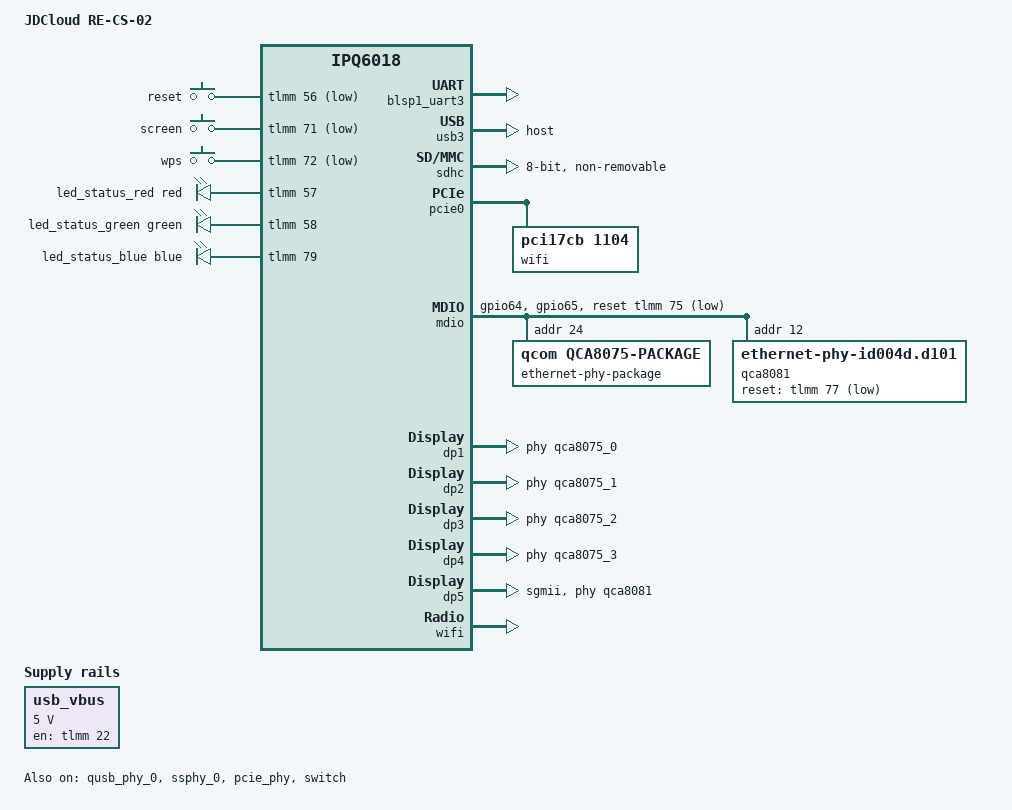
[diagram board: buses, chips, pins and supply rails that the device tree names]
// SPDX-License-Identifier: GPL-2.0-or-later OR MIT

/dts-v1/;

#include "ipq6018.dtsi"
#include "ipq6018-ess.dtsi"

#include <dt-bindings/gpio/gpio.h>
#include <dt-bindings/input/input.h>
#include <dt-bindings/leds/common.h>

/ {
	model = "JDCloud RE-CS-02";
	compatible = "jdcloud,re-cs-02", "qcom,ipq6018";

	aliases {
		led-boot = &led_status_red;
		led-failsafe = &led_status_red;
		led-running = &led_status_green;
		led-upgrade = &led_status_blue;
		serial0 = &blsp1_uart3;
	};

	chosen {
		stdout-path = "serial0:115200n8";
	};

	keys {
		compatible = "gpio-keys";
		pinctrl-0 = <&button_pins>;
		pinctrl-names = "default";

		reset {
			label = "reset";
			linux,code = <KEY_RESTART>;
			gpios = <&tlmm 56 GPIO_ACTIVE_LOW>;
		};

		screen {
			label = "screen";
			linux,code = <BTN_1>;
			gpios = <&tlmm 71 GPIO_ACTIVE_LOW>;
		};

		wps {
			label = "wps";
			linux,code = <KEY_WPS_BUTTON>;
			gpios = <&tlmm 72 GPIO_ACTIVE_LOW>;
		};
	};

	leds {
		compatible = "gpio-leds";

		led_status_red: red {
			color = <LED_COLOR_ID_RED>;
			function = LED_FUNCTION_STATUS;
			gpios = <&tlmm 57 GPIO_ACTIVE_HIGH>;
		};

		led_status_green: green {
			color = <LED_COLOR_ID_GREEN>;
			function = LED_FUNCTION_STATUS;
			gpios = <&tlmm 58 GPIO_ACTIVE_HIGH>;
		};

		led_status_blue: blue {
			color = <LED_COLOR_ID_BLUE>;
			function = LED_FUNCTION_STATUS;
			gpios = <&tlmm 79 GPIO_ACTIVE_HIGH>;
		};
	};

	usb_vbus: regulator-usb-vbus {
		compatible = "regulator-fixed";
		regulator-name = "usb_vbus";
		regulator-min-microvolt = <5000000>;
		regulator-max-microvolt = <5000000>;
		gpios = <&tlmm 22 GPIO_ACTIVE_HIGH>;
		enable-active-high;
		regulator-boot-on;
	};
};

&tlmm {
	gpio-reserved-ranges = <20 1>;

	button_pins: button-pins {
		mux {
			pins = "gpio56", "gpio71", "gpio72";
			function = "gpio";
			drive-strength = <8>;
			bias-pull-up;
		};
	};

	mdio_pins: mdio-pins {
		mdc {
			pins = "gpio64";
			function = "mdc";
			drive-strength = <8>;
			bias-pull-up;
		};

		mdio {
			pins = "gpio65";
			function = "mdio";
			drive-strength = <8>;
			bias-pull-up;
		};
	};
};

&blsp1_uart3 {
	pinctrl-0 = <&serial_3_pins>;
	pinctrl-names = "default";
	status = "okay";
};

&qusb_phy_0 {
	vdd-supply = <&usb_vbus>;
	status = "okay";
};

&ssphy_0 {
	status = "okay";
};

&usb3 {
	dr_mode = "host";
	status = "okay";
};

&rpm {
	status = "disabled";
};

&sdhc {
	bus-width = <8>;
	mmc-ddr-1_8v;
	mmc-hs200-1_8v;
	non-removable;
	status = "okay";
};

&pcie_phy {
	status = "okay";
};

&pcie0 {
	status = "okay";
	perst-gpios = <&tlmm 53 GPIO_ACTIVE_LOW>;

	pcie@0 {
		wifi@0,0 {
			status = "okay";

			/* ath11k has no DT compatible for PCI cards */
			compatible = "pci17cb,1104";
			reg = <0x00010000 0 0 0 0>;

			qcom,ath11k-calibration-variant = "JDC-RE-CS-02";
		};
	};
};

&mdio {
	status = "okay";

	pinctrl-0 = <&mdio_pins>;
	pinctrl-names = "default";
	reset-gpios = <&tlmm 75 GPIO_ACTIVE_LOW>;

	ethernet-phy-package@24 {
		compatible = "qcom,qca8075-package";
		#address-cells = <1>;
		#size-cells = <0>;
		reg = <24>;

		qca8075_0: ethernet-phy@24 {
			compatible = "ethernet-phy-ieee802.3-c22";
			reg = <24>;
		};

		qca8075_1: ethernet-phy@25 {
			compatible = "ethernet-phy-ieee802.3-c22";
			reg = <25>;
		};

		qca8075_2: ethernet-phy@26 {
			compatible = "ethernet-phy-ieee802.3-c22";
			reg = <26>;
		};

		qca8075_3: ethernet-phy@27 {
			compatible = "ethernet-phy-ieee802.3-c22";
			reg = <27>;
		};
	};

	qca8081: ethernet-phy@12 {
		compatible = "ethernet-phy-id004d.d101";
		reg = <12>;
		reset-deassert-us = <10000>;
		reset-gpios = <&tlmm 77 GPIO_ACTIVE_LOW>;
	};
};

&switch {
	status = "okay";

	switch_mac_mode = <MAC_MODE_PSGMII>;
	switch_mac_mode1 = <MAC_MODE_SGMII_PLUS>;

	switch_lan_bmp = <(ESS_PORT1 | ESS_PORT2 | ESS_PORT3 | ESS_PORT4)>;
	switch_wan_bmp = <ESS_PORT5>;

	qcom,port_phyinfo {
		port@1 {
			port_id = <1>;
			mdiobus = <&mdio>;
			phy_address = <24>;
		};

		port@2 {
			port_id = <2>;
			mdiobus = <&mdio>;
			phy_address = <25>;
		};

		port@3 {
			port_id = <3>;
			mdiobus = <&mdio>;
			phy_address = <26>;
		};

		port@4 {
			port_id = <4>;
			mdiobus = <&mdio>;
			phy_address = <27>;
		};

		port@5 {
			port_id = <5>;
			mdiobus = <&mdio>;
			phy_address = <12>;
		};
	};
};

&dp1 {
	status = "okay";
	phy-handle = <&qca8075_0>;
	label = "lan1";
};

&dp2 {
	status = "okay";
	phy-handle = <&qca8075_1>;
	label = "lan2";
};

&dp3 {
	status = "okay";
	phy-handle = <&qca8075_2>;
	label = "lan3";
};

&dp4 {
	status = "okay";
	phy-handle = <&qca8075_3>;
	label = "lan4";
};

&dp5 {
	status = "okay";
	phy-mode = "sgmii";
	phy-handle = <&qca8081>;
	label = "wan";
};

&edma {
	status = "okay";
};

&wifi {
	status = "okay";

	qcom,ath11k-calibration-variant = "JDC-RE-CS-02";
};
